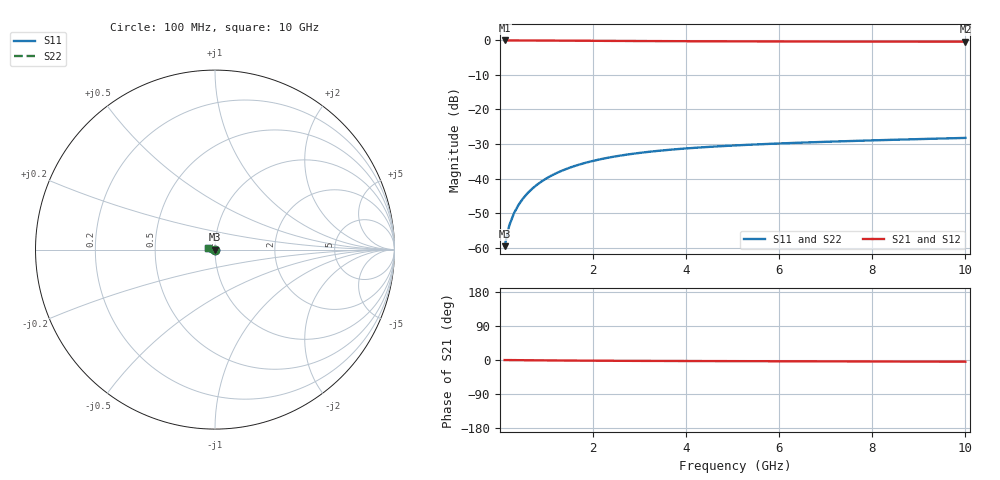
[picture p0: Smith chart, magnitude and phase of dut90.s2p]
! Touchstone file exported from HFSS 2024.1.0
!  File:  C:/UserFiles/LocalFiles/RDL_TSV_Batchsim/temp_TSV1_90_1778751626.aedt
!  Generated:  05:45:41 PM May 14, 2026
!  Design:  TSV1
!  Project:  temp_TSV1_90_1778751626
!  Setup:  Setup1
!  Solution:  Sweep
! Variables:
!  dtsv = 11.06um
!  hbump = 3um
!  htsv = 65.55um
!  lrdl = 252.1521522um
!  p = 40
!  p1 = 59.74um
!  t = 500um
!  trdl = 3um
!  wrdl = 24.89489489um
# GHz S MA R 50.000000
! Terminal data exported
! Port[1] = TSV22_T1
! Port[2] = TSV22_T2
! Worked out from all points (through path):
!   100 points, 100 MHz to 10 GHz, reference 50 ohm
!   highest |S21| = 0.00 dB at 100 MHz (marker M1); lowest = -0.4 dB at 10 GHz (marker M2)
!   lowest |S11| = -59.6 dB at 100 MHz (marker M3), VSWR 1.00, Z = 50 - j0.104 ohm
!   |S11| at or under -10 dB: start of sweep to end of sweep
!   |S22| runs from -59.6 to -28.2 dB; largest |S21 - S12| = 9.6e-15
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0.1  0.001047 -86.5  0.9999 -0.1  0.9999 -0.1  0.001047 -86.5
! Gamma 0 0 0 0
! Port Impedance 50 0 50 0
0.2  0.002086 -91.3  0.9997 -0.2  0.9997 -0.2  0.002086 -91.3
0.3  0.003125 -94.3  0.9995 -0.3  0.9995 -0.3  0.003125 -94.3
0.4  0.004158 -96.8  0.9992 -0.4  0.9992 -0.4  0.004158 -96.8
0.5  0.005182 -99.2  0.9989 -0.6  0.9989 -0.6  0.005182 -99.2
0.6  0.006193 -101.5  0.9985 -0.7  0.9985 -0.7  0.006193 -101.5
0.7  0.007188 -103.7  0.998 -0.8  0.998 -0.8  0.007188 -103.7
0.8  0.008165 -105.9  0.9974 -0.9  0.9974 -0.9  0.008165 -105.9
0.9  0.009121 -108.0  0.9968 -1.0  0.9968 -1.0  0.009121 -108.0
1.1  0.01097 -112.1  0.9955 -1.1  0.9955 -1.1  0.01097 -112.1
1.4  0.01355 -118.0  0.9933 -1.4  0.9933 -1.4  0.01355 -118.0
1.6  0.01513 -121.7  0.9917 -1.6  0.9917 -1.6  0.01513 -121.7
1.8  0.01662 -125.2  0.9901 -1.7  0.9901 -1.7  0.01662 -125.2
2.1  0.01864 -130.2  0.9876 -1.9  0.9876 -1.9  0.01864 -130.2
2.5  0.02101 -136.4  0.9845 -2.1  0.9845 -2.1  0.02101 -136.4
2.9  0.02303 -141.9  0.9815 -2.3  0.9815 -2.3  0.02303 -141.9
3.4  0.02516 -148.2  0.9782 -2.5  0.9782 -2.5  0.02516 -148.2
4.2  0.02788 -156.9  0.9738 -2.8  0.9738 -2.8  0.02788 -156.9
5.1  0.03025 -165.2  0.9701 -3.0  0.9701 -3.0  0.03025 -165.2
6.7  0.03349 -177.1  0.9654 -3.5  0.9654 -3.5  0.03349 -177.1
8.4  0.0363 172.7  0.9623 -4.0  0.9623 -4.0  0.0363 172.7
10  0.03874 164.7  0.9604 -4.5  0.9604 -4.5  0.03874 164.7
